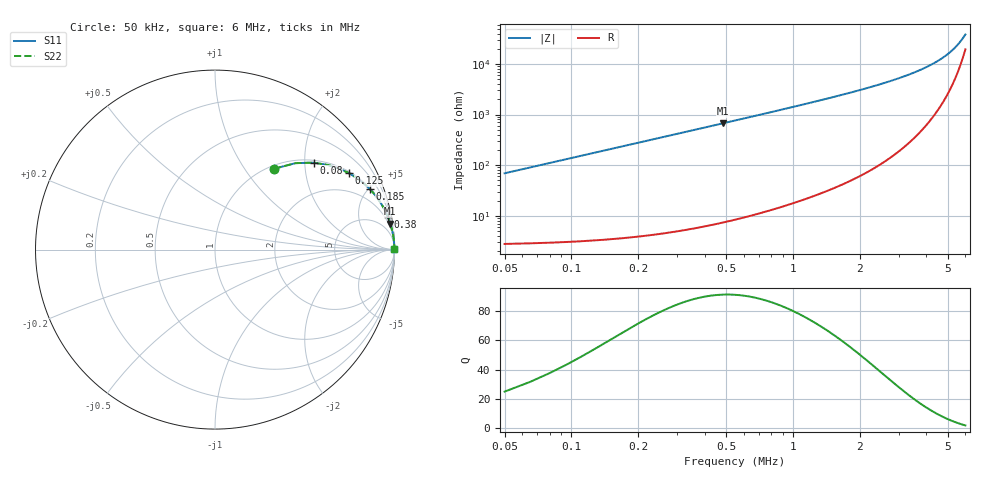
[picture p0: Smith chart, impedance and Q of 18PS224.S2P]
! Coilcraft 1812PS-224 Power Chip Inductor
! 1 October 2002
# MHZ S MA R 50
!Freq  MagS11  AngS11  MagS21  AngS21  MagS12  AngS12  MagS22  AngS22
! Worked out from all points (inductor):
!   398 points, 50 kHz to 6 MHz, reference 50 ohm
!   read as one part in series: L = 220 uH near 65 kHz
!   highest Q = 91.3 at 485 kHz (marker M1), where L = 221 uH
!   S11 on the Smith chart (normalised r, x): 50 kHz: 1.06, +1.38; 80 kHz: 1.06, +2.21; 125 kHz: 1.06, +3.46; 185 kHz: 1.07, +5.12; 380 kHz: 1, +11; 6 MHz: open
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0.05  0.5585 53.8  0.8074 -33.9  0.8074 -33.9  0.5585 53.8
0.065  0.6583 47.0  0.7322 -41.1  0.7322 -41.1  0.6583 47.0
0.08  0.7323 41.4  0.6618 -47.1  0.6618 -47.1  0.7323 41.4
0.095  0.787 36.8  0.599 -51.9  0.599 -51.9  0.787 36.8
0.11  0.8278 33.0  0.5442 -55.9  0.5442 -55.9  0.8278 33.0
0.125  0.8587 29.8  0.4967 -59.2  0.4967 -59.2  0.8587 29.8
0.155  0.9007 24.8  0.4201 -64.2  0.4201 -64.2  0.9007 24.8
0.185  0.9269 21.2  0.3621 -67.9  0.3621 -67.9  0.9269 21.2
0.26  0.9604 15.5  0.2668 -73.8  0.2668 -73.8  0.9604 15.5
0.38  0.9805 10.7  0.186 -78.6  0.186 -78.6  0.9805 10.7
0.485  0.9876 8.4  0.1465 -80.9  0.1465 -80.9  0.9876 8.4
0.605  0.9918 6.8  0.1176 -82.6  0.1176 -82.6  0.9918 6.8
0.74  0.9943 5.5  0.09599 -83.8  0.09599 -83.8  0.9943 5.5
1.055  0.9969 3.8  0.06663 -85.4  0.06663 -85.4  0.9969 3.8
1.49  0.9982 2.6  0.04601 -86.5  0.04601 -86.5  0.9982 2.6
2.045  0.9988 1.8  0.03197 -87.0  0.03197 -87.0  0.9988 1.8
3.035  0.9991 1.1  0.01883 -86.8  0.01883 -86.8  0.9991 1.1
4.025  0.9991 0.7  0.01137 -85.2  0.01137 -85.2  0.9991 0.7
4.565  0.999 0.5  0.008396 -83.1  0.008396 -83.1  0.999 0.5
5.015  0.9989 0.4  0.006282 -80.1  0.006282 -80.1  0.9989 0.4
5.54  0.9988 0.2  0.004157 -73.2  0.004157 -73.2  0.9988 0.2
6  0.9987 0.1  0.002608 -59.4  0.002608 -59.4  0.9987 0.1
